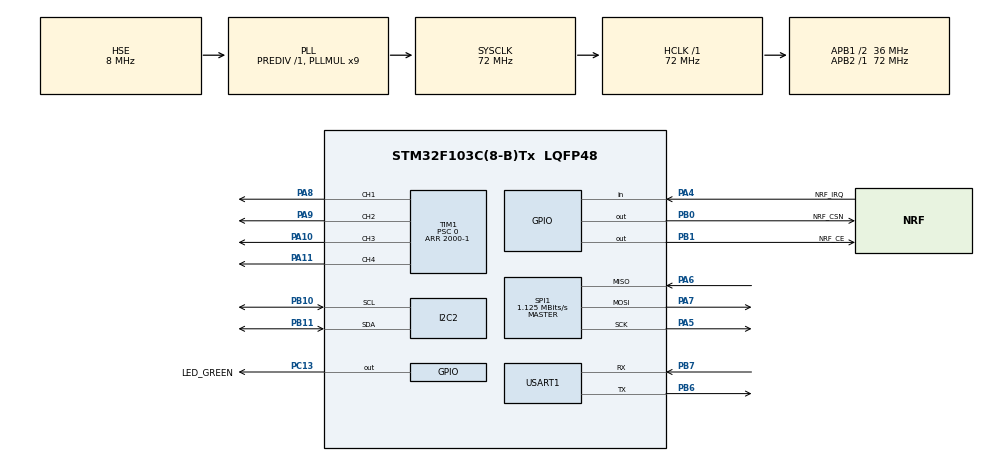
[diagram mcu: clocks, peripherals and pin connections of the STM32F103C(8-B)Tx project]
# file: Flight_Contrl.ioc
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I2C2.I2C_Mode=I2C_Fast
Mcu.Family=STM32F1
Mcu.Name=STM32F103C(8-B)Tx
Mcu.Package=LQFP48
NVIC.PriorityGroup=NVIC_PRIORITYGROUP_4
NVIC.TIM4_IRQn=true\:1\:0\:true\:true\:true\:1\:true
PA10.Signal=S_TIM1_CH3
PA11.Signal=S_TIM1_CH4
PA13.Mode=Serial_Wire
PA13.Signal=SYS_JTMS-SWDIO
PA14.Mode=Serial_Wire
PA14.Signal=SYS_JTCK-SWCLK
PA4.GPIO_Label=NRF_IRQ
PA4.GPIO_PuPd=GPIO_NOPULL
PA4.Signal=GPIO_Input
PA5.Mode=Full_Duplex_Master
PA5.Signal=SPI1_SCK
PA6.Mode=Full_Duplex_Master
PA6.Signal=SPI1_MISO
PA7.Mode=Full_Duplex_Master
PA7.Signal=SPI1_MOSI
PA8.Signal=S_TIM1_CH1
PA9.Signal=S_TIM1_CH2
PB0.GPIO_Label=NRF_CSN
PB0.GPIO_Speed=GPIO_SPEED_FREQ_HIGH
PB0.Signal=GPIO_Output
PB1.GPIO_Label=NRF_CE
PB1.GPIO_Speed=GPIO_SPEED_FREQ_HIGH
PB1.Signal=GPIO_Output
PB10.Mode=I2C
PB10.Signal=I2C2_SCL
PB11.Mode=I2C
PB11.Signal=I2C2_SDA
PB6.Mode=Asynchronous
PB6.Signal=USART1_TX
PB7.Mode=Asynchronous
PB7.Signal=USART1_RX
PC13-TAMPER-RTC.GPIO_Label=LED_GREEN
PC13-TAMPER-RTC.GPIO_Speed=GPIO_SPEED_FREQ_HIGH
PC13-TAMPER-RTC.Signal=GPIO_Output
PC14-OSC32_IN.Mode=LSE-External-Oscillator
PC14-OSC32_IN.Signal=RCC_OSC32_IN
PC15-OSC32_OUT.Mode=LSE-External-Oscillator
PC15-OSC32_OUT.Signal=RCC_OSC32_OUT
PD0-OSC_IN.Mode=HSE-External-Oscillator
PD0-OSC_IN.Signal=RCC_OSC_IN
PD1-OSC_OUT.Mode=HSE-External-Oscillator
PD1-OSC_OUT.Signal=RCC_OSC_OUT
ProjectManager.HeapSize=0x800
ProjectManager.StackSize=0x1000
ProjectManager.TargetToolchain=MDK-ARM V5
RCC.AHBFreq_Value=72000000
RCC.APB1CLKDivider=RCC_HCLK_DIV2
RCC.APB1Freq_Value=36000000
RCC.APB1TimFreq_Value=72000000
RCC.APB2Freq_Value=72000000
RCC.APB2TimFreq_Value=72000000
RCC.EnbaleCSS=true
RCC.HCLKFreq_Value=72000000
RCC.PLLMUL=RCC_PLL_MUL9
RCC.PLLSourceVirtual=RCC_PLLSOURCE_HSE
RCC.SYSCLKFreq_VALUE=72000000
RCC.SYSCLKSource=RCC_SYSCLKSOURCE_PLLCLK
RCC.USBFreq_Value=48000000
RCC.USBPrescaler=RCC_USBCLKSOURCE_PLL_DIV1_5
SH.S_TIM1_CH1.0=TIM1_CH1,PWM Generation1 CH1
SH.S_TIM1_CH2.0=TIM1_CH2,PWM Generation2 CH2
SH.S_TIM1_CH3.0=TIM1_CH3,PWM Generation3 CH3
SH.S_TIM1_CH4.0=TIM1_CH4,PWM Generation4 CH4
SPI1.BaudRatePrescaler=SPI_BAUDRATEPRESCALER_64
SPI1.CalculateBaudRate=1.125 MBits/s
SPI1.Direction=SPI_DIRECTION_2LINES
SPI1.Mode=SPI_MODE_MASTER
SPI1.VirtualType=VM_MASTER
TIM1.Channel-PWM\ Generation1\ CH1=TIM_CHANNEL_1
TIM1.Channel-PWM\ Generation2\ CH2=TIM_CHANNEL_2
TIM1.Channel-PWM\ Generation3\ CH3=TIM_CHANNEL_3
TIM1.Channel-PWM\ Generation4\ CH4=TIM_CHANNEL_4
TIM1.OCFastMode_PWM-PWM\ Generation1\ CH1=TIM_OCFAST_ENABLE
TIM1.OCFastMode_PWM-PWM\ Generation2\ CH2=TIM_OCFAST_ENABLE
TIM1.OCFastMode_PWM-PWM\ Generation3\ CH3=TIM_OCFAST_ENABLE
TIM1.OCFastMode_PWM-PWM\ Generation4\ CH4=TIM_OCFAST_ENABLE
TIM1.Period=2000-1
TIM1.Prescaler=0
TIM1.Pulse-PWM\ Generation1\ CH1=0
TIM1.Pulse-PWM\ Generation2\ CH2=0
TIM4.Period=1000-1
TIM4.Prescaler=72-1
USART1.VirtualMode=VM_ASYNC
VP_CRC_VS_CRC.Mode=CRC_Activate
VP_TIM1_VS_ClockSourceINT.Mode=Internal
VP_TIM4_VS_ClockSourceINT.Mode=Internal
board=Flight_Contrl

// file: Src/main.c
/**
  ******************************************************************************
  * @file           : main.c
  * @brief          : Main program body
  ******************************************************************************
  ** This notice applies to any and all portions of this file
  * that are not between comment pairs USER CODE BEGIN and
  * USER CODE END. Other portions of this file, whether
  * inserted by the user or by software development tools
  * are owned by their respective copyright owners.
  *
  * COPYRIGHT(c) 2018 STMicroelectronics
  *
  * Redistribution and use in source and binary forms, with or without modification,
  * are permitted provided that the following conditions are met:
  *   1. Redistributions of source code must retain the above copyright notice,
  *      this list of conditions and the following disclaimer.
  *   2. Redistributions in binary form must reproduce the above copyright notice,
  *      this list of conditions and the following disclaimer in the documentation
  *      and/or other materials provided with the distribution.
  *   3. Neither the name of STMicroelectronics nor the names of its contributors
  *      may be used to endorse or promote products derived from this software
  *      without specific prior written permission.
  *
  * THIS SOFTWARE IS PROVIDED BY THE COPYRIGHT HOLDERS AND CONTRIBUTORS "AS IS"
  * AND ANY EXPRESS OR IMPLIED WARRANTIES, INCLUDING, BUT NOT LIMITED TO, THE
  * IMPLIED WARRANTIES OF MERCHANTABILITY AND FITNESS FOR A PARTICULAR PURPOSE ARE
  * DISCLAIMED. IN NO EVENT SHALL THE COPYRIGHT HOLDER OR CONTRIBUTORS BE LIABLE
  * FOR ANY DIRECT, INDIRECT, INCIDENTAL, SPECIAL, EXEMPLARY, OR CONSEQUENTIAL
  * DAMAGES (INCLUDING, BUT NOT LIMITED TO, PROCUREMENT OF SUBSTITUTE GOODS OR
  * SERVICES; LOSS OF USE, DATA, OR PROFITS; OR BUSINESS INTERRUPTION) HOWEVER
  * CAUSED AND ON ANY THEORY OF LIABILITY, WHETHER IN CONTRACT, STRICT LIABILITY,
  * OR TORT (INCLUDING NEGLIGENCE OR OTHERWISE) ARISING IN ANY WAY OUT OF THE USE
  * OF THIS SOFTWARE, EVEN IF ADVISED OF THE POSSIBILITY OF SUCH DAMAGE.
  *
  ******************************************************************************
  */
#include "main.h"
#include "stm32f1xx_hal.h"
#include "crc.h"
#include "i2c.h"
#include "spi.h"
#include "tim.h"
#include "usart.h"
#include "gpio.h"

/* USER CODE BEGIN Includes */
#include "BSP_NRF24L01.h"
#include "BSP_LED.h"
#include "inv_mpu.h"
#include "BSP_MPU6050.h"
#include "PID_Control.h"
#include "stdlib.h"
#include "string.h"
#include "arm_math.h"
#include "eeprom_emulation.h"
/* USER CODE END Includes */

/* USER CODE BEGIN PV */
/* Private variables ---------------------------------------------------------*/
typedef __packed struct{
uint8_t  FlyMode;
float  LX;
float  LY;
float  RX;
float  RY;
}sJoykey;

typedef  struct{
float Pitch;
float Roll;
float Yaw;
}sPosture;

typedef __packed struct {
	uint8_t PID_Code;
	float Roll_P	;
	float Roll_I  ;
	float Roll_D  ;
	float Pitch_P	;
	float Pitch_I  ;
	float Pitch_D  ;
}sPID;

sJoykey * Joykey_Buf;
sPosture Curent_Posture;
sPID * PID_Set;

int16_t VirtAddVarTab[NB_OF_VAR]={0x1234};

uint8_t  NRF_RX_Buff[45];
uint8_t  NRF_TX_Buff[45];

uint8_t cmp_p[9]={0};
int16_t Gyro[3];

uint32_t CRC_Buf[10];
uint32_t CRC_Value;

uint16_t EE_Data[24];

uint8_t Timer4_IT_PID_Flag=0;
uint16_t Request_Data_Flag=0;//0:Do not request 1:do request

arm_pid_instance_f32 arm_Pitch;
arm_pid_instance_f32 arm_Roll;
float arm_Pitch_out,arm_Roll_out;
int16_t M1,M2,M3,M4;
/* USER CODE END PV */

void SystemClock_Config(void);
static void MX_NVIC_Init(void);

/* USER CODE BEGIN PFP */
/* Private function prototypes -----------------------------------------------*/

/* USER CODE END PFP */

int main(void)
{

  /* MCU Configuration----------------------------------------------------------*/

  /* Reset of all peripherals, Initializes the Flash interface and the Systick. */
  HAL_Init();

  /* Configure the system clock */
  SystemClock_Config();

  /* Initialize all configured peripherals */
  MX_GPIO_Init();
  MX_I2C2_Init();
  MX_SPI1_Init();
  MX_TIM1_Init();
  MX_USART1_UART_Init();
  MX_CRC_Init();
  MX_TIM4_Init();

  /* Initialize interrupts */
  MX_NVIC_Init();
  /* USER CODE BEGIN 2 */
  HAL_TIM_Base_Start(&htim1);
  HAL_TIM_PWM_Start(&htim1,TIM_CHANNEL_1);
  HAL_TIM_PWM_Start(&htim1,TIM_CHANNEL_2);
  HAL_TIM_PWM_Start(&htim1,TIM_CHANNEL_3);
  HAL_TIM_PWM_Start(&htim1,TIM_CHANNEL_4);

	 Joykey_Buf=(sJoykey*)malloc(sizeof(sJoykey));
		PID_Set=(sPID*)malloc(sizeof(sPID));
		memset(NRF_RX_Buff,0,30);
		memset(NRF_TX_Buff,0,30);
		memset(CRC_Buf,0,40);

//		HAL_FLASH_Unlock();
//		EE_Init();
//		HAL_FLASH_Lock();

		while(NRF24L01_Check())
		{
		;
		}
		Blink_LED(25,10);
		NRF24L01_RX_Mode();
		mpu_dmp_init();
//		PID_init(0,0,0,0,0,0);

		arm_Roll.Kp=0;
		arm_Roll.Ki=0;
		arm_Roll.Kd=0;
		arm_pid_init_f32(&arm_Roll,0);
		arm_Pitch.Kp=1.80f;
		arm_Pitch.Ki=0.02f;
		arm_Pitch.Kd=3.10f;
		arm_pid_init_f32(&arm_Pitch,0);

  NRF24L01_RX_Mode();
		HAL_TIM_Base_Start_IT(&htim4);
  /* USER CODE END 2 */

  /* Infinite loop */
  while (1)
  {

  /* USER CODE BEGIN 3 */

					NRF24L01_RxPacket(NRF_RX_Buff);

					if(NRF_RX_Buff[0]==0x05)//PID Set Mode
						{
									memcpy(CRC_Buf,NRF_RX_Buff,25);
									CRC_Value = HAL_CRC_Calculate(&hcrc,CRC_Buf,10);
									if( (uint8_t)CRC_Value==NRF_RX_Buff[25])
											{

												memcpy(PID_Set,NRF_RX_Buff,25);
//											PID_init(PID_Set->Roll_P,PID_Set->Roll_I,PID_Set->Roll_D,
//																				PID_Set->Pitch_P,PID_Set->Pitch_I,PID_Set->Pitch_D);
												arm_Roll.Kp=PID_Set->Roll_P;
												arm_Roll.Ki=PID_Set->Roll_I;
												arm_Roll.Kd=PID_Set->Roll_D;
												arm_pid_init_f32(&arm_Roll,0);
												arm_Pitch.Kp=PID_Set->Pitch_P;
												arm_Pitch.Ki=PID_Set->Pitch_I;
												arm_Pitch.Kd=PID_Set->Pitch_P;
												arm_pid_init_f32(&arm_Pitch,0);

												Blink_LED(5,1000);
											}

										else
											{
//													PID_init(0,0,0,0,0,0);
															arm_Roll.Kp=0;
															arm_Roll.Ki=0;
															arm_Roll.Kd=0;
															arm_pid_init_f32(&arm_Roll,0);
															arm_Pitch.Kp=0;
															arm_Pitch.Ki=0;
															arm_Pitch.Kd=0;
															arm_pid_init_f32(&arm_Pitch,0);
											}
						}

						else
						{
								if(Timer4_IT_PID_Flag>=10)//10ms
									{
													Timer4_IT_PID_Flag=0;
													if(NRF_RX_Buff[0]==0x01)
													{
																memcpy(CRC_Buf,NRF_RX_Buff,17);
																CRC_Value = HAL_CRC_Calculate(&hcrc,CRC_Buf,5);
																if((uint8_t)CRC_Value==NRF_RX_Buff[17])
																{
																	memcpy(Joykey_Buf,NRF_RX_Buff,sizeof(sJoykey));
																}

																else
																{
																	Joykey_Buf->LX=0;       //YAW
																	Joykey_Buf->LY=0;       //Throttle
																	Joykey_Buf->RX=0;       //Roll
																	Joykey_Buf->RY=0;       //Pitch
																}
													}

													else
													{
														memset(NRF_RX_Buff,0,30);
													}

               mpu_dmp_get_data(&Curent_Posture.Pitch,&Curent_Posture.Roll,&Curent_Posture.Yaw);
													  if( Curent_Posture.Pitch == 0 || Curent_Posture.Roll==0 || Curent_Posture.Yaw ==0 )
															{
																Blink_LED(20,3);
																HAL_NVIC_SystemReset();
															}

													if(Joykey_Buf->LY>200)
													{

													arm_Pitch_out = arm_pid_f32(&arm_Pitch,Curent_Posture.Pitch);
													arm_Roll_out  = arm_pid_f32(&arm_Roll ,Curent_Posture.Roll);

													M1=(int16_t) ( Joykey_Buf->LY - arm_Roll_out - arm_Pitch_out );
													M2=(int16_t) ( Joykey_Buf->LY + arm_Roll_out - arm_Pitch_out );
													M3=(int16_t) ( Joykey_Buf->LY + arm_Roll_out + arm_Pitch_out );
													M4=(int16_t) ( Joykey_Buf->LY - arm_Roll_out + arm_Pitch_out );
													if(M1>=2000)
														{
															M1=2000;
														}
													if(M2>=2000)
														{
															M2=2000;
														}
													if(M3>=2000)
														{
															M3=2000;
														}
													if(M4>=2000)
														{
															M4=2000;
														}
													if(M1<=0)
														{
															M1=0;
														}
													if(M2<=0)
														{
															M2=0;
														}
													if(M3<=0)
														{
															M3=0;
														}
													if(M4<=0)
														{
															M4=0;
														}
													PWM_Set(  &htim1,M1,M2,M3,M4 );

													}

													else
													{
													PWM_Set(  &htim1,0,0,0,0 );
													}
//													MPU6050ReadGyro(Gyro);
//													PID_CONTROL( Curent_Posture.Pitch, Curent_Posture.Yaw, Curent_Posture.Roll,
//																			-0,0,0,
//																		(float)(Gyro[0])*Gyro_Gr,(float)Gyro_Gr*(Gyro[1]),(float)( Gyro[2]),
//																			Joykey_Buf->LY ,Joykey_Buf->FlyMode);

														/*		PID_CONTROL(  Curent_Posture.Pitch, Curent_Posture.Yaw, Curent_Posture.Roll,
																												-J_Buff.RX,J_Buff.RY,J_Buff.LX,
																													(float) Gyro[0]*Gyro_Gr,(float)Gyro_Gr*Gyro[1],(float)Gyro[2],
																													J_Buff.LY,J_Buff.FlyMode);
															ANO_DT_Send_Status(Curent_Posture.Roll,Curent_Posture.Pitch,Curent_Posture.Yaw,
																																		0,0,0);
														*/
									}

						}

  }
  /* USER CODE END 3 */

}

void SystemClock_Config(void)
{

  RCC_OscInitTypeDef RCC_OscInitStruct;
  RCC_ClkInitTypeDef RCC_ClkInitStruct;

    /**Initializes the CPU, AHB and APB busses clocks
    */
  RCC_OscInitStruct.OscillatorType = RCC_OSCILLATORTYPE_HSE;
  RCC_OscInitStruct.HSEState = RCC_HSE_ON;
  RCC_OscInitStruct.HSEPredivValue = RCC_HSE_PREDIV_DIV1;
  RCC_OscInitStruct.HSIState = RCC_HSI_ON;
  RCC_OscInitStruct.PLL.PLLState = RCC_PLL_ON;
  RCC_OscInitStruct.PLL.PLLSource = RCC_PLLSOURCE_HSE;
  RCC_OscInitStruct.PLL.PLLMUL = RCC_PLL_MUL9;
  if (HAL_RCC_OscConfig(&RCC_OscInitStruct) != HAL_OK)
  {
    _Error_Handler(__FILE__, __LINE__);
  }

    /**Initializes the CPU, AHB and APB busses clocks
    */
  RCC_ClkInitStruct.ClockType = RCC_CLOCKTYPE_HCLK|RCC_CLOCKTYPE_SYSCLK
                              |RCC_CLOCKTYPE_PCLK1|RCC_CLOCKTYPE_PCLK2;
  RCC_ClkInitStruct.SYSCLKSource = RCC_SYSCLKSOURCE_PLLCLK;
  RCC_ClkInitStruct.AHBCLKDivider = RCC_SYSCLK_DIV1;
  RCC_ClkInitStruct.APB1CLKDivider = RCC_HCLK_DIV2;
  RCC_ClkInitStruct.APB2CLKDivider = RCC_HCLK_DIV1;

  if (HAL_RCC_ClockConfig(&RCC_ClkInitStruct, FLASH_LATENCY_2) != HAL_OK)
  {
    _Error_Handler(__FILE__, __LINE__);
  }

    /**Enables the Clock Security System
    */
  HAL_RCC_EnableCSS();

    /**Configure the Systick interrupt time
    */
  HAL_SYSTICK_Config(HAL_RCC_GetHCLKFreq()/1000);

    /**Configure the Systick
    */
  HAL_SYSTICK_CLKSourceConfig(SYSTICK_CLKSOURCE_HCLK);

  /* SysTick_IRQn interrupt configuration */
  HAL_NVIC_SetPriority(SysTick_IRQn, 0, 0);
}

/**
  * @brief NVIC Configuration.
  * @retval None
  */
static void MX_NVIC_Init(void)
{
  /* TIM4_IRQn interrupt configuration */
  HAL_NVIC_SetPriority(TIM4_IRQn, 1, 0);
  HAL_NVIC_EnableIRQ(TIM4_IRQn);
}

/* USER CODE BEGIN 4 */
void HAL_TIM_PeriodElapsedCallback(TIM_HandleTypeDef *htim)
{

	Timer4_IT_PID_Flag++;

}
/* USER CODE END 4 */

void _Error_Handler(char *file, int line)
{
  while(1)
  {
  }
}

/************************ (C) COPYRIGHT STMicroelectronics *****END OF FILE****/
